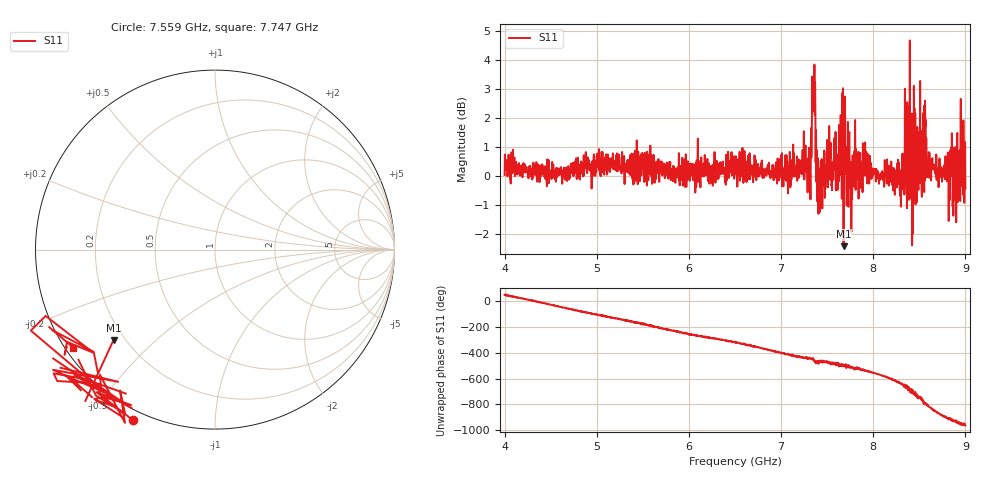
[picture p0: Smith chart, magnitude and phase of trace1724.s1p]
! Created with skrf 1.8.0 (http://scikit-rf.org).
# Hz S RI R 50.0
!freq ReS11 ImS11
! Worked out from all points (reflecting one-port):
!   1601 points, 4 GHz to 9 GHz, reference 50 ohm
!   lowest |S11| = -2.4 dB at 7.678 GHz (marker M1), VSWR 7.20, Z = 7.93 - j18.6 ohm
!   phase of S11 starts at 53 deg and turns -1018 deg over the sweep
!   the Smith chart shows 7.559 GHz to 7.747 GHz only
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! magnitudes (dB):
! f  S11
! 4 GHz  0.0
! 4.625 GHz  -0.3
! 5.25 GHz  0.3
! 5.875 GHz  0.2
! 6.5 GHz  0.1
! 7.125 GHz  0.1
! 7.297 GHz  0.4
! 7.356 GHz  3.1
! 7.4 GHz  0.6
! 7.428 GHz  -0.2
! 7.512 GHz  0.8
! 7.619 GHz  0.4
! 7.65 GHz  0.6
! 7.678 GHz  -2.4
! 7.75 GHz  -0.1
! 7.769 GHz  -0.8
! 7.822 GHz  0.2
! 8.312 GHz  0.3
! 8.334 GHz  0.2
! 8.375 GHz  -0.1
! 8.412 GHz  -0.6
! 8.447 GHz  2.3
! 8.459 GHz  -1.0
! 8.556 GHz  2.4
! 8.606 GHz  -0.1
! 8.881 GHz  -0.8
! 8.972 GHz  0.6
! 9 GHz  -0.4
